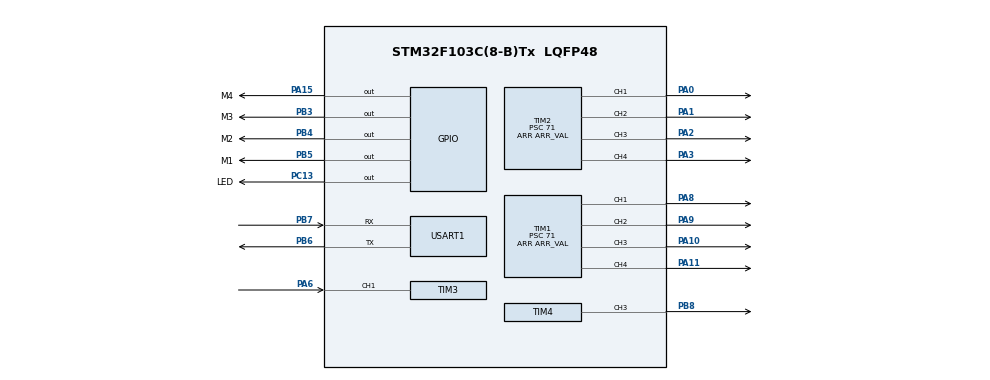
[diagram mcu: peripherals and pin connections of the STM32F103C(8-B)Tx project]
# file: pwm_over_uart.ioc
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Dma.Request0=USART1_RX
Dma.Request1=USART1_TX
Dma.Request2=TIM4_UP
Dma.TIM4_UP.2.Direction=DMA_MEMORY_TO_PERIPH
Dma.TIM4_UP.2.Instance=DMA1_Channel7
Dma.TIM4_UP.2.MemDataAlignment=DMA_MDATAALIGN_HALFWORD
Dma.TIM4_UP.2.MemInc=DMA_MINC_ENABLE
Dma.TIM4_UP.2.Mode=DMA_CIRCULAR
Dma.TIM4_UP.2.PeriphDataAlignment=DMA_PDATAALIGN_HALFWORD
Dma.TIM4_UP.2.PeriphInc=DMA_PINC_DISABLE
Dma.TIM4_UP.2.Priority=DMA_PRIORITY_LOW
Dma.USART1_RX.0.Direction=DMA_PERIPH_TO_MEMORY
Dma.USART1_RX.0.Instance=DMA1_Channel5
Dma.USART1_RX.0.MemDataAlignment=DMA_MDATAALIGN_BYTE
Dma.USART1_RX.0.MemInc=DMA_MINC_ENABLE
Dma.USART1_RX.0.Mode=DMA_CIRCULAR
Dma.USART1_RX.0.PeriphDataAlignment=DMA_PDATAALIGN_BYTE
Dma.USART1_RX.0.PeriphInc=DMA_PINC_DISABLE
Dma.USART1_RX.0.Priority=DMA_PRIORITY_LOW
Dma.USART1_TX.1.Direction=DMA_MEMORY_TO_PERIPH
Dma.USART1_TX.1.Instance=DMA1_Channel4
Dma.USART1_TX.1.MemDataAlignment=DMA_MDATAALIGN_BYTE
Dma.USART1_TX.1.MemInc=DMA_MINC_ENABLE
Dma.USART1_TX.1.Mode=DMA_CIRCULAR
Dma.USART1_TX.1.PeriphDataAlignment=DMA_PDATAALIGN_BYTE
Dma.USART1_TX.1.PeriphInc=DMA_PINC_DISABLE
Dma.USART1_TX.1.Priority=DMA_PRIORITY_LOW
Mcu.Family=STM32F1
Mcu.Name=STM32F103C(8-B)Tx
Mcu.Package=LQFP48
Mcu.UserConstants=ARR_VAL,(20000 - 1)
NVIC.DMA1_Channel4_IRQn=true\:0\:0\:false\:false\:true\:false\:true\:true
NVIC.DMA1_Channel5_IRQn=true\:0\:0\:false\:false\:true\:false\:true\:true
NVIC.DMA1_Channel7_IRQn=true\:0\:0\:false\:false\:true\:false\:true\:true
NVIC.PriorityGroup=NVIC_PRIORITYGROUP_4
NVIC.TIM3_IRQn=true\:0\:0\:false\:false\:true\:true\:true\:true
PA0-WKUP.Signal=S_TIM2_CH1_ETR
PA1.Signal=S_TIM2_CH2
PA10.Signal=S_TIM1_CH3
PA11.Signal=S_TIM1_CH4
PA13.Mode=Serial_Wire
PA13.Signal=SYS_JTMS-SWDIO
PA14.Mode=Serial_Wire
PA14.Signal=SYS_JTCK-SWCLK
PA15.GPIO_Label=M4
PA15.GPIO_Speed=GPIO_SPEED_FREQ_HIGH
PA15.Signal=GPIO_Output
PA2.Signal=S_TIM2_CH3
PA3.Signal=S_TIM2_CH4
PA6.Signal=S_TIM3_CH1
PA8.Signal=S_TIM1_CH1
PA9.Signal=S_TIM1_CH2
PB3.GPIO_Label=M3
PB3.GPIO_Speed=GPIO_SPEED_FREQ_HIGH
PB3.Signal=GPIO_Output
PB4.GPIO_Label=M2
PB4.GPIO_Speed=GPIO_SPEED_FREQ_HIGH
PB4.Signal=GPIO_Output
PB5.GPIO_Label=M1
PB5.GPIO_Speed=GPIO_SPEED_FREQ_HIGH
PB5.Signal=GPIO_Output
PB6.Mode=Asynchronous
PB6.Signal=USART1_TX
PB7.Mode=Asynchronous
PB7.Signal=USART1_RX
PB8.Signal=S_TIM4_CH3
PC13-TAMPER-RTC.GPIO_Label=LED
PC13-TAMPER-RTC.Signal=GPIO_Output
PD0-OSC_IN.Mode=HSE-External-Oscillator
PD0-OSC_IN.Signal=RCC_OSC_IN
PD1-OSC_OUT.Mode=HSE-External-Oscillator
PD1-OSC_OUT.Signal=RCC_OSC_OUT
ProjectManager.HeapSize=0x200
ProjectManager.StackSize=0x400
ProjectManager.TargetToolchain=CMake
RCC.AHBFreq_Value=72000000
RCC.APB1CLKDivider=RCC_HCLK_DIV2
RCC.APB1Freq_Value=36000000
RCC.APB1TimFreq_Value=72000000
RCC.APB2Freq_Value=72000000
RCC.APB2TimFreq_Value=72000000
RCC.HCLKFreq_Value=72000000
RCC.PLLMUL=RCC_PLL_MUL9
RCC.PLLSourceVirtual=RCC_PLLSOURCE_HSE
RCC.SYSCLKFreq_VALUE=72000000
RCC.SYSCLKSource=RCC_SYSCLKSOURCE_PLLCLK
RCC.USBFreq_Value=72000000
SH.S_TIM1_CH1.0=TIM1_CH1,PWM Generation1 CH1
SH.S_TIM1_CH2.0=TIM1_CH2,PWM Generation2 CH2
SH.S_TIM1_CH3.0=TIM1_CH3,PWM Generation3 CH3
SH.S_TIM1_CH4.0=TIM1_CH4,PWM Generation4 CH4
SH.S_TIM2_CH1_ETR.0=TIM2_CH1,PWM Generation1 CH1
SH.S_TIM2_CH2.0=TIM2_CH2,PWM Generation2 CH2
SH.S_TIM2_CH3.0=TIM2_CH3,PWM Generation3 CH3
SH.S_TIM2_CH4.0=TIM2_CH4,PWM Generation4 CH4
SH.S_TIM3_CH1.0=TIM3_CH1,Input_Capture1_from_TI1
SH.S_TIM4_CH3.0=TIM4_CH3,PWM Generation3 CH3
TIM1.AutoReloadPreload=TIM_AUTORELOAD_PRELOAD_ENABLE
TIM1.Channel-PWM\ Generation1\ CH1=TIM_CHANNEL_1
TIM1.Channel-PWM\ Generation2\ CH2=TIM_CHANNEL_2
TIM1.Channel-PWM\ Generation3\ CH3=TIM_CHANNEL_3
TIM1.Channel-PWM\ Generation4\ CH4=TIM_CHANNEL_4
TIM1.Period=ARR_VAL
TIM1.Prescaler=71
TIM2.AutoReloadPreload=TIM_AUTORELOAD_PRELOAD_ENABLE
TIM2.Channel-PWM\ Generation1\ CH1=TIM_CHANNEL_1
TIM2.Channel-PWM\ Generation2\ CH2=TIM_CHANNEL_2
TIM2.Channel-PWM\ Generation3\ CH3=TIM_CHANNEL_3
TIM2.Channel-PWM\ Generation4\ CH4=TIM_CHANNEL_4
TIM2.Period=ARR_VAL
TIM2.Prescaler=71
TIM3.AutoReloadPreload=TIM_AUTORELOAD_PRELOAD_ENABLE
TIM3.Channel-Input_Capture1_from_TI1=TIM_CHANNEL_1
TIM3.Prescaler=71
TIM4.AutoReloadPreload=TIM_AUTORELOAD_PRELOAD_ENABLE
TIM4.Channel-PWM\ Generation3\ CH3=TIM_CHANNEL_3
TIM4.CounterMode=TIM_COUNTERMODE_DOWN
TIM4.OCMode_PWM-PWM\ Generation3\ CH3=TIM_OCMODE_PWM1
TIM4.OCPolarity_3=TIM_OCPOLARITY_HIGH
TIM4.Period=2199
TIM4.Prescaler=71
TIM4.Pulse-PWM\ Generation3\ CH3=200
USART1.VirtualMode=VM_ASYNC
VP_TIM1_VS_ClockSourceINT.Mode=Internal
VP_TIM2_VS_ClockSourceINT.Mode=Internal
VP_TIM3_VS_ClockSourceINT.Mode=Internal
VP_TIM4_VS_ClockSourceINT.Mode=Internal
board=custom

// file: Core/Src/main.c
/* USER CODE BEGIN Header */
/**
  ******************************************************************************
  * @file           : main.c
  * @brief          : Main program body
  ******************************************************************************
  * @attention
  *
  * Copyright (c) 2025 STMicroelectronics.
  * All rights reserved.
  *
  * This software is licensed under terms that can be found in the LICENSE file
  * in the root directory of this software component.
  * If no LICENSE file comes with this software, it is provided AS-IS.
  *
  ******************************************************************************
  */
/* USER CODE END Header */
#include "main.h"

/* USER CODE BEGIN Includes */
#include <stdlib.h>
#include <stdio.h>
#include "config.h"
/* USER CODE END Includes */

/* USER CODE BEGIN PD */
#define SYNC_VAL_1          0xb5
#define SYNC_VAL_2          0x62
/* USER CODE END PD */

/* USER CODE BEGIN PV */
volatile uint8_t    data_ready_flag = 0;
volatile uint8_t    time_elapsed_flag = 0;
volatile uint8_t    pkt_timeout = 0;  /* timeout since last packet, ms */
volatile pwm_data_t pwm_data;

static GPIO_TypeDef * h_bridge_ports[] = {
  M1_GPIO_Port,
  M2_GPIO_Port,
  M3_GPIO_Port,
  M4_GPIO_Port,
  NULL,
  NULL,
  NULL,
  NULL
};

static uint32_t h_bridge_pins[] = {
  M1_Pin,
  M2_Pin,
  M3_Pin,
  M4_Pin,
  0,
  0,
  0,
  0
};

#ifdef _DEBUG_
#ifdef PPM_OVER_UART
static pwm_data_t test_data = {
  .sync1 = SYNC_VAL_1,
  .sync2 = SYNC_VAL_2,
  .ch = {1000, 1250, 1500, 2000, 1000, 1250, 1500, 2000}
};
#else
static uint16_t test_data[] = {1000, 1250, 1500, 2000, 1000, 1250, 1500, 2000, 2200};
#endif
#endif
/* USER CODE END PV */

void SystemClock_Config(void);
static void MX_GPIO_Init(void);
static void MX_DMA_Init(void);
static void MX_TIM1_Init(void);
static void MX_TIM2_Init(void);
static void MX_USART1_UART_Init(void);
static void MX_TIM3_Init(void);
static void MX_TIM4_Init(void);

/* USER CODE BEGIN 0 */
static uint16_t calc_checksum(uint8_t *pwm_data_ptr) {
  uint8_t a = 0, b = 0;
  uint16_t i = 0;

  /* len of data minus len of the checksum */
  for(i = 0; i < (sizeof(pwm_data_t) - sizeof(uint16_t) - 2); i++) {
    a += pwm_data_ptr[2 + i];  /* 2 - offset for sync symbols */
    b += a;
  }

  return (uint16_t)((b << 8) | a);
}

static uint16_t normalize_ppm(uint16_t ppm) {
  return (uint16_t)(ARR_VAL * abs((ppm - CH_NEUTRAL_VAL) * 100 / CH_MAX_MIN_DIF) / 100);
}
/* USER CODE END 0 */

int main(void)
{

  /* USER CODE BEGIN 1 */
  uint8_t i = 0;
  /* USER CODE END 1 */

  /* MCU Configuration--------------------------------------------------------*/

  /* Reset of all peripherals, Initializes the Flash interface and the Systick. */
  LL_APB2_GRP1_EnableClock(LL_APB2_GRP1_PERIPH_AFIO);
  LL_APB1_GRP1_EnableClock(LL_APB1_GRP1_PERIPH_PWR);

  /* System interrupt init*/
  NVIC_SetPriorityGrouping(NVIC_PRIORITYGROUP_4);

  /* SysTick_IRQn interrupt configuration */
  NVIC_SetPriority(SysTick_IRQn, NVIC_EncodePriority(NVIC_GetPriorityGrouping(),15, 0));

  /** NOJTAG: JTAG-DP Disabled and SW-DP Enabled
  */
  LL_GPIO_AF_Remap_SWJ_NOJTAG();

  /* Configure the system clock */
  SystemClock_Config();

  /* Initialize all configured peripherals */
  MX_GPIO_Init();
  MX_DMA_Init();
  MX_TIM1_Init();
  MX_TIM2_Init();
  /* USER CODE BEGIN 2 */
  LL_SYSTICK_EnableIT();

  /* enable PWM outputs */
  LL_TIM_EnableAllOutputs(TIM1);
  LL_TIM_CC_EnableChannel(TIM1, LL_TIM_CHANNEL_CH1 | LL_TIM_CHANNEL_CH2 | LL_TIM_CHANNEL_CH3 | LL_TIM_CHANNEL_CH4);
  LL_TIM_EnableAllOutputs(TIM2);
  LL_TIM_CC_EnableChannel(TIM2, LL_TIM_CHANNEL_CH1 | LL_TIM_CHANNEL_CH2 | LL_TIM_CHANNEL_CH3 | LL_TIM_CHANNEL_CH4);

#ifdef PPM_OVER_UART
  MX_USART1_UART_Init();
#ifdef _DEBUG_
  test_data.checksum = calc_checksum((uint8_t *)(&test_data));
  LL_USART_EnableDMAReq_TX(USART1);
  LL_DMA_EnableChannel(DMA1, LL_DMA_CHANNEL_4);
#endif
#else
  MX_TIM3_Init();
  LL_TIM_CC_EnableChannel(TIM3, LL_TIM_CHANNEL_CH1);
  LL_TIM_EnableCounter(TIM3);
#ifdef _DEBUG_
  MX_TIM4_Init();
  LL_TIM_CC_EnableChannel(TIM4, LL_TIM_CHANNEL_CH3);
  LL_TIM_EnableDMAReq_UPDATE(TIM4);
  LL_DMA_EnableChannel(DMA1, LL_DMA_CHANNEL_7);
  LL_TIM_EnableCounter(TIM4);
#endif
#endif
  /* USER CODE END 2 */

  /* Infinite loop */
  /* USER CODE BEGIN WHILE */
  while (1) {
    if (data_ready_flag) {
      data_ready_flag = 0;

#ifdef PPM_OVER_UART
      if (!(pwm_data.sync1 == SYNC_VAL_1 && pwm_data.sync2 == SYNC_VAL_2 && calc_checksum((uint8_t *)(&pwm_data)) == pwm_data.checksum))
        continue;
#endif

      /* set new PWM values */
      LL_TIM_OC_SetCompareCH1(TIM1, normalize_ppm(pwm_data.ch[0]));
      LL_TIM_OC_SetCompareCH2(TIM1, normalize_ppm(pwm_data.ch[1]));
      LL_TIM_OC_SetCompareCH3(TIM1, normalize_ppm(pwm_data.ch[2]));
      LL_TIM_OC_SetCompareCH4(TIM1, normalize_ppm(pwm_data.ch[3]));

      LL_TIM_OC_SetCompareCH1(TIM2, normalize_ppm(pwm_data.ch[4]));
      LL_TIM_OC_SetCompareCH2(TIM2, normalize_ppm(pwm_data.ch[5]));
      LL_TIM_OC_SetCompareCH3(TIM2, normalize_ppm(pwm_data.ch[6]));
      LL_TIM_OC_SetCompareCH4(TIM2, normalize_ppm(pwm_data.ch[7]));

      for (i = 0; i < CH_NUM; i++) {
        if (!h_bridge_ports[i])
          continue;
        /* set H-bridge direction */
        if (pwm_data.ch[i] >= CH_NEUTRAL_VAL)
          LL_GPIO_SetOutputPin(h_bridge_ports[i], h_bridge_pins[i]);
        else
          LL_GPIO_ResetOutputPin(h_bridge_ports[i], h_bridge_pins[i]);
      }

      LL_SYSTICK_DisableIT();  /* critical section */
      pkt_timeout = PACKET_TIMEOUT_MS;  /* reset packet timeout */
      time_elapsed_flag = 0;
      LL_TIM_EnableCounter(TIM1);
      LL_TIM_EnableCounter(TIM2);
      LL_SYSTICK_EnableIT();
    }

    if (time_elapsed_flag) {
      /* stop all PWM outputs in case of packet timeout */
      LL_TIM_DisableCounter(TIM1);
      LL_TIM_DisableCounter(TIM2);
    }
    /* USER CODE END WHILE */

  }
}

void SystemClock_Config(void)
{
  LL_FLASH_SetLatency(LL_FLASH_LATENCY_2);
  while(LL_FLASH_GetLatency()!= LL_FLASH_LATENCY_2)
  {
  }
  LL_RCC_HSE_Enable();

   /* Wait till HSE is ready */
  while(LL_RCC_HSE_IsReady() != 1)
  {

  }
  LL_RCC_PLL_ConfigDomain_SYS(LL_RCC_PLLSOURCE_HSE_DIV_1, LL_RCC_PLL_MUL_9);
  LL_RCC_PLL_Enable();

   /* Wait till PLL is ready */
  while(LL_RCC_PLL_IsReady() != 1)
  {

  }
  LL_RCC_SetAHBPrescaler(LL_RCC_SYSCLK_DIV_1);
  LL_RCC_SetAPB1Prescaler(LL_RCC_APB1_DIV_2);
  LL_RCC_SetAPB2Prescaler(LL_RCC_APB2_DIV_1);
  LL_RCC_SetSysClkSource(LL_RCC_SYS_CLKSOURCE_PLL);

   /* Wait till System clock is ready */
  while(LL_RCC_GetSysClkSource() != LL_RCC_SYS_CLKSOURCE_STATUS_PLL)
  {

  }
  LL_Init1msTick(72000000);
  LL_SetSystemCoreClock(72000000);
}

static void MX_TIM1_Init(void)
{

  LL_TIM_InitTypeDef TIM_InitStruct = {0};
  LL_TIM_OC_InitTypeDef TIM_OC_InitStruct = {0};
  LL_TIM_BDTR_InitTypeDef TIM_BDTRInitStruct = {0};

  LL_GPIO_InitTypeDef GPIO_InitStruct = {0};

  /* Peripheral clock enable */
  LL_APB2_GRP1_EnableClock(LL_APB2_GRP1_PERIPH_TIM1);

  TIM_InitStruct.Prescaler = 71;
  TIM_InitStruct.CounterMode = LL_TIM_COUNTERMODE_UP;
  TIM_InitStruct.Autoreload = ARR_VAL;
  TIM_InitStruct.ClockDivision = LL_TIM_CLOCKDIVISION_DIV1;
  TIM_InitStruct.RepetitionCounter = 0;
  LL_TIM_Init(TIM1, &TIM_InitStruct);
  LL_TIM_EnableARRPreload(TIM1);
  LL_TIM_SetClockSource(TIM1, LL_TIM_CLOCKSOURCE_INTERNAL);
  LL_TIM_OC_EnablePreload(TIM1, LL_TIM_CHANNEL_CH1);
  TIM_OC_InitStruct.OCMode = LL_TIM_OCMODE_PWM1;
  TIM_OC_InitStruct.OCState = LL_TIM_OCSTATE_DISABLE;
  TIM_OC_InitStruct.OCNState = LL_TIM_OCSTATE_DISABLE;
  TIM_OC_InitStruct.CompareValue = 0;
  TIM_OC_InitStruct.OCPolarity = LL_TIM_OCPOLARITY_HIGH;
  TIM_OC_InitStruct.OCNPolarity = LL_TIM_OCPOLARITY_HIGH;
  TIM_OC_InitStruct.OCIdleState = LL_TIM_OCIDLESTATE_LOW;
  TIM_OC_InitStruct.OCNIdleState = LL_TIM_OCIDLESTATE_LOW;
  LL_TIM_OC_Init(TIM1, LL_TIM_CHANNEL_CH1, &TIM_OC_InitStruct);
  LL_TIM_OC_DisableFast(TIM1, LL_TIM_CHANNEL_CH1);
  LL_TIM_OC_EnablePreload(TIM1, LL_TIM_CHANNEL_CH2);
  LL_TIM_OC_Init(TIM1, LL_TIM_CHANNEL_CH2, &TIM_OC_InitStruct);
  LL_TIM_OC_DisableFast(TIM1, LL_TIM_CHANNEL_CH2);
  LL_TIM_OC_EnablePreload(TIM1, LL_TIM_CHANNEL_CH3);
  LL_TIM_OC_Init(TIM1, LL_TIM_CHANNEL_CH3, &TIM_OC_InitStruct);
  LL_TIM_OC_DisableFast(TIM1, LL_TIM_CHANNEL_CH3);
  LL_TIM_OC_EnablePreload(TIM1, LL_TIM_CHANNEL_CH4);
  LL_TIM_OC_Init(TIM1, LL_TIM_CHANNEL_CH4, &TIM_OC_InitStruct);
  LL_TIM_OC_DisableFast(TIM1, LL_TIM_CHANNEL_CH4);
  LL_TIM_SetTriggerOutput(TIM1, LL_TIM_TRGO_RESET);
  LL_TIM_DisableMasterSlaveMode(TIM1);
  TIM_BDTRInitStruct.OSSRState = LL_TIM_OSSR_DISABLE;
  TIM_BDTRInitStruct.OSSIState = LL_TIM_OSSI_DISABLE;
  TIM_BDTRInitStruct.LockLevel = LL_TIM_LOCKLEVEL_OFF;
  TIM_BDTRInitStruct.DeadTime = 0;
  TIM_BDTRInitStruct.BreakState = LL_TIM_BREAK_DISABLE;
  TIM_BDTRInitStruct.BreakPolarity = LL_TIM_BREAK_POLARITY_HIGH;
  TIM_BDTRInitStruct.AutomaticOutput = LL_TIM_AUTOMATICOUTPUT_DISABLE;
  LL_TIM_BDTR_Init(TIM1, &TIM_BDTRInitStruct);
  LL_APB2_GRP1_EnableClock(LL_APB2_GRP1_PERIPH_GPIOA);
  /**TIM1 GPIO Configuration
  PA8   ------> TIM1_CH1
  PA9   ------> TIM1_CH2
  PA10   ------> TIM1_CH3
  PA11   ------> TIM1_CH4
  */
  GPIO_InitStruct.Pin = LL_GPIO_PIN_8|LL_GPIO_PIN_9|LL_GPIO_PIN_10|LL_GPIO_PIN_11;
  GPIO_InitStruct.Mode = LL_GPIO_MODE_ALTERNATE;
  GPIO_InitStruct.Speed = LL_GPIO_SPEED_FREQ_LOW;
  GPIO_InitStruct.OutputType = LL_GPIO_OUTPUT_PUSHPULL;
  LL_GPIO_Init(GPIOA, &GPIO_InitStruct);

}

static void MX_TIM2_Init(void)
{

  LL_TIM_InitTypeDef TIM_InitStruct = {0};
  LL_TIM_OC_InitTypeDef TIM_OC_InitStruct = {0};

  LL_GPIO_InitTypeDef GPIO_InitStruct = {0};

  /* Peripheral clock enable */
  LL_APB1_GRP1_EnableClock(LL_APB1_GRP1_PERIPH_TIM2);

  TIM_InitStruct.Prescaler = 71;
  TIM_InitStruct.CounterMode = LL_TIM_COUNTERMODE_UP;
  TIM_InitStruct.Autoreload = ARR_VAL;
  TIM_InitStruct.ClockDivision = LL_TIM_CLOCKDIVISION_DIV1;
  LL_TIM_Init(TIM2, &TIM_InitStruct);
  LL_TIM_EnableARRPreload(TIM2);
  LL_TIM_SetClockSource(TIM2, LL_TIM_CLOCKSOURCE_INTERNAL);
  LL_TIM_OC_EnablePreload(TIM2, LL_TIM_CHANNEL_CH1);
  TIM_OC_InitStruct.OCMode = LL_TIM_OCMODE_PWM1;
  TIM_OC_InitStruct.OCState = LL_TIM_OCSTATE_DISABLE;
  TIM_OC_InitStruct.OCNState = LL_TIM_OCSTATE_DISABLE;
  TIM_OC_InitStruct.CompareValue = 0;
  TIM_OC_InitStruct.OCPolarity = LL_TIM_OCPOLARITY_HIGH;
  LL_TIM_OC_Init(TIM2, LL_TIM_CHANNEL_CH1, &TIM_OC_InitStruct);
  LL_TIM_OC_DisableFast(TIM2, LL_TIM_CHANNEL_CH1);
  LL_TIM_OC_EnablePreload(TIM2, LL_TIM_CHANNEL_CH2);
  LL_TIM_OC_Init(TIM2, LL_TIM_CHANNEL_CH2, &TIM_OC_InitStruct);
  LL_TIM_OC_DisableFast(TIM2, LL_TIM_CHANNEL_CH2);
  LL_TIM_OC_EnablePreload(TIM2, LL_TIM_CHANNEL_CH3);
  LL_TIM_OC_Init(TIM2, LL_TIM_CHANNEL_CH3, &TIM_OC_InitStruct);
  LL_TIM_OC_DisableFast(TIM2, LL_TIM_CHANNEL_CH3);
  LL_TIM_OC_EnablePreload(TIM2, LL_TIM_CHANNEL_CH4);
  LL_TIM_OC_Init(TIM2, LL_TIM_CHANNEL_CH4, &TIM_OC_InitStruct);
  LL_TIM_OC_DisableFast(TIM2, LL_TIM_CHANNEL_CH4);
  LL_TIM_SetTriggerOutput(TIM2, LL_TIM_TRGO_RESET);
  LL_TIM_DisableMasterSlaveMode(TIM2);
  LL_APB2_GRP1_EnableClock(LL_APB2_GRP1_PERIPH_GPIOA);
  /**TIM2 GPIO Configuration
  PA0-WKUP   ------> TIM2_CH1
  PA1   ------> TIM2_CH2
  PA2   ------> TIM2_CH3
  PA3   ------> TIM2_CH4
  */
  GPIO_InitStruct.Pin = LL_GPIO_PIN_0|LL_GPIO_PIN_1|LL_GPIO_PIN_2|LL_GPIO_PIN_3;
  GPIO_InitStruct.Mode = LL_GPIO_MODE_ALTERNATE;
  GPIO_InitStruct.Speed = LL_GPIO_SPEED_FREQ_LOW;
  GPIO_InitStruct.OutputType = LL_GPIO_OUTPUT_PUSHPULL;
  LL_GPIO_Init(GPIOA, &GPIO_InitStruct);

}

static void MX_TIM3_Init(void)
{

  LL_TIM_InitTypeDef TIM_InitStruct = {0};

  LL_GPIO_InitTypeDef GPIO_InitStruct = {0};

  /* Peripheral clock enable */
  LL_APB1_GRP1_EnableClock(LL_APB1_GRP1_PERIPH_TIM3);

  LL_APB2_GRP1_EnableClock(LL_APB2_GRP1_PERIPH_GPIOA);
  /**TIM3 GPIO Configuration
  PA6   ------> TIM3_CH1
  */
  GPIO_InitStruct.Pin = LL_GPIO_PIN_6;
  GPIO_InitStruct.Mode = LL_GPIO_MODE_FLOATING;
  LL_GPIO_Init(GPIOA, &GPIO_InitStruct);

  /* TIM3 interrupt Init */
  NVIC_SetPriority(TIM3_IRQn, NVIC_EncodePriority(NVIC_GetPriorityGrouping(),0, 0));
  NVIC_EnableIRQ(TIM3_IRQn);

  TIM_InitStruct.Prescaler = 71;
  TIM_InitStruct.CounterMode = LL_TIM_COUNTERMODE_UP;
  TIM_InitStruct.Autoreload = 65535;
  TIM_InitStruct.ClockDivision = LL_TIM_CLOCKDIVISION_DIV1;
  LL_TIM_Init(TIM3, &TIM_InitStruct);
  LL_TIM_EnableARRPreload(TIM3);
  LL_TIM_SetClockSource(TIM3, LL_TIM_CLOCKSOURCE_INTERNAL);
  LL_TIM_SetTriggerOutput(TIM3, LL_TIM_TRGO_RESET);
  LL_TIM_DisableMasterSlaveMode(TIM3);
  LL_TIM_IC_SetActiveInput(TIM3, LL_TIM_CHANNEL_CH1, LL_TIM_ACTIVEINPUT_DIRECTTI);
  LL_TIM_IC_SetPrescaler(TIM3, LL_TIM_CHANNEL_CH1, LL_TIM_ICPSC_DIV1);
  LL_TIM_IC_SetFilter(TIM3, LL_TIM_CHANNEL_CH1, LL_TIM_IC_FILTER_FDIV1);
  LL_TIM_IC_SetPolarity(TIM3, LL_TIM_CHANNEL_CH1, LL_TIM_IC_POLARITY_RISING);
  /* USER CODE BEGIN TIM3_Init 2 */
  LL_TIM_EnableIT_CC1(TIM3);
  /* USER CODE END TIM3_Init 2 */

}

static void MX_TIM4_Init(void)
{

  LL_TIM_InitTypeDef TIM_InitStruct = {0};
  LL_TIM_OC_InitTypeDef TIM_OC_InitStruct = {0};

  LL_GPIO_InitTypeDef GPIO_InitStruct = {0};

  /* Peripheral clock enable */
  LL_APB1_GRP1_EnableClock(LL_APB1_GRP1_PERIPH_TIM4);

  /* TIM4 DMA Init */

  /* TIM4_UP Init */
  LL_DMA_SetDataTransferDirection(DMA1, LL_DMA_CHANNEL_7, LL_DMA_DIRECTION_MEMORY_TO_PERIPH);

  LL_DMA_SetChannelPriorityLevel(DMA1, LL_DMA_CHANNEL_7, LL_DMA_PRIORITY_LOW);

  LL_DMA_SetMode(DMA1, LL_DMA_CHANNEL_7, LL_DMA_MODE_CIRCULAR);

  LL_DMA_SetPeriphIncMode(DMA1, LL_DMA_CHANNEL_7, LL_DMA_PERIPH_NOINCREMENT);

  LL_DMA_SetMemoryIncMode(DMA1, LL_DMA_CHANNEL_7, LL_DMA_MEMORY_INCREMENT);

  LL_DMA_SetPeriphSize(DMA1, LL_DMA_CHANNEL_7, LL_DMA_PDATAALIGN_HALFWORD);

  LL_DMA_SetMemorySize(DMA1, LL_DMA_CHANNEL_7, LL_DMA_MDATAALIGN_HALFWORD);

  /* USER CODE BEGIN TIM4_Init 1 */
#ifdef _DEBUG_
#ifndef PPM_OVER_UART
  LL_DMA_SetMemoryAddress(DMA1, LL_DMA_CHANNEL_7, (uint32_t)(test_data));
  LL_DMA_SetPeriphAddress(DMA1, LL_DMA_CHANNEL_7, (uint32_t)&TIM4->ARR);
  LL_DMA_SetDataLength(DMA1, LL_DMA_CHANNEL_7, sizeof(test_data) / sizeof(test_data[0]));
  LL_DMA_EnableIT_TC(DMA1, LL_DMA_CHANNEL_7);
#endif
#endif
  /* USER CODE END TIM4_Init 1 */
  TIM_InitStruct.Prescaler = 71;
  TIM_InitStruct.CounterMode = LL_TIM_COUNTERMODE_DOWN;
  TIM_InitStruct.Autoreload = 2199;
  TIM_InitStruct.ClockDivision = LL_TIM_CLOCKDIVISION_DIV1;
  LL_TIM_Init(TIM4, &TIM_InitStruct);
  LL_TIM_EnableARRPreload(TIM4);
  LL_TIM_SetClockSource(TIM4, LL_TIM_CLOCKSOURCE_INTERNAL);
  LL_TIM_OC_EnablePreload(TIM4, LL_TIM_CHANNEL_CH3);
  TIM_OC_InitStruct.OCMode = LL_TIM_OCMODE_PWM1;
  TIM_OC_InitStruct.OCState = LL_TIM_OCSTATE_DISABLE;
  TIM_OC_InitStruct.OCNState = LL_TIM_OCSTATE_DISABLE;
  TIM_OC_InitStruct.CompareValue = 200;
  TIM_OC_InitStruct.OCPolarity = LL_TIM_OCPOLARITY_HIGH;
  LL_TIM_OC_Init(TIM4, LL_TIM_CHANNEL_CH3, &TIM_OC_InitStruct);
  LL_TIM_OC_DisableFast(TIM4, LL_TIM_CHANNEL_CH3);
  LL_TIM_SetTriggerOutput(TIM4, LL_TIM_TRGO_RESET);
  LL_TIM_DisableMasterSlaveMode(TIM4);
  /* USER CODE BEGIN TIM4_Init 2 */
  LL_TIM_CC_SetDMAReqTrigger(TIM4, LL_TIM_CCDMAREQUEST_UPDATE);
  /* USER CODE END TIM4_Init 2 */
  LL_APB2_GRP1_EnableClock(LL_APB2_GRP1_PERIPH_GPIOB);
  /**TIM4 GPIO Configuration
  PB8   ------> TIM4_CH3
  */
  GPIO_InitStruct.Pin = LL_GPIO_PIN_8;
  GPIO_InitStruct.Mode = LL_GPIO_MODE_ALTERNATE;
  GPIO_InitStruct.Speed = LL_GPIO_SPEED_FREQ_LOW;
  GPIO_InitStruct.OutputType = LL_GPIO_OUTPUT_PUSHPULL;
  LL_GPIO_Init(GPIOB, &GPIO_InitStruct);

}

static void MX_USART1_UART_Init(void)
{

  LL_USART_InitTypeDef USART_InitStruct = {0};

  LL_GPIO_InitTypeDef GPIO_InitStruct = {0};

  /* Peripheral clock enable */
  LL_APB2_GRP1_EnableClock(LL_APB2_GRP1_PERIPH_USART1);

  LL_APB2_GRP1_EnableClock(LL_APB2_GRP1_PERIPH_GPIOB);
  /**USART1 GPIO Configuration
  PB6   ------> USART1_TX
  PB7   ------> USART1_RX
  */
  GPIO_InitStruct.Pin = LL_GPIO_PIN_6;
  GPIO_InitStruct.Mode = LL_GPIO_MODE_ALTERNATE;
  GPIO_InitStruct.Speed = LL_GPIO_SPEED_FREQ_HIGH;
  GPIO_InitStruct.OutputType = LL_GPIO_OUTPUT_PUSHPULL;
  LL_GPIO_Init(GPIOB, &GPIO_InitStruct);

  GPIO_InitStruct.Pin = LL_GPIO_PIN_7;
  GPIO_InitStruct.Mode = LL_GPIO_MODE_FLOATING;
  LL_GPIO_Init(GPIOB, &GPIO_InitStruct);

  LL_GPIO_AF_EnableRemap_USART1();

  /* USART1 DMA Init */

  /* USART1_RX Init */
  LL_DMA_SetDataTransferDirection(DMA1, LL_DMA_CHANNEL_5, LL_DMA_DIRECTION_PERIPH_TO_MEMORY);

  LL_DMA_SetChannelPriorityLevel(DMA1, LL_DMA_CHANNEL_5, LL_DMA_PRIORITY_LOW);

  LL_DMA_SetMode(DMA1, LL_DMA_CHANNEL_5, LL_DMA_MODE_CIRCULAR);

  LL_DMA_SetPeriphIncMode(DMA1, LL_DMA_CHANNEL_5, LL_DMA_PERIPH_NOINCREMENT);

  LL_DMA_SetMemoryIncMode(DMA1, LL_DMA_CHANNEL_5, LL_DMA_MEMORY_INCREMENT);

  LL_DMA_SetPeriphSize(DMA1, LL_DMA_CHANNEL_5, LL_DMA_PDATAALIGN_BYTE);

  LL_DMA_SetMemorySize(DMA1, LL_DMA_CHANNEL_5, LL_DMA_MDATAALIGN_BYTE);

  /* USART1_TX Init */
  LL_DMA_SetDataTransferDirection(DMA1, LL_DMA_CHANNEL_4, LL_DMA_DIRECTION_MEMORY_TO_PERIPH);

  LL_DMA_SetChannelPriorityLevel(DMA1, LL_DMA_CHANNEL_4, LL_DMA_PRIORITY_LOW);

  LL_DMA_SetMode(DMA1, LL_DMA_CHANNEL_4, LL_DMA_MODE_CIRCULAR);

  LL_DMA_SetPeriphIncMode(DMA1, LL_DMA_CHANNEL_4, LL_DMA_PERIPH_NOINCREMENT);

  LL_DMA_SetMemoryIncMode(DMA1, LL_DMA_CHANNEL_4, LL_DMA_MEMORY_INCREMENT);

  LL_DMA_SetPeriphSize(DMA1, LL_DMA_CHANNEL_4, LL_DMA_PDATAALIGN_BYTE);

  LL_DMA_SetMemorySize(DMA1, LL_DMA_CHANNEL_4, LL_DMA_MDATAALIGN_BYTE);

  /* USER CODE BEGIN USART1_Init 1 */
  LL_DMA_SetMemoryAddress(DMA1, LL_DMA_CHANNEL_5, (uint32_t)(&pwm_data));
  LL_DMA_SetPeriphAddress(DMA1, LL_DMA_CHANNEL_5, LL_USART_DMA_GetRegAddr(USART1));
  LL_DMA_SetDataLength(DMA1, LL_DMA_CHANNEL_5, sizeof(pwm_data_t));
  LL_DMA_EnableIT_TC(DMA1, LL_DMA_CHANNEL_5);

#ifdef _DEBUG_
#ifdef PPM_OVER_UART
  LL_DMA_SetMemoryAddress(DMA1, LL_DMA_CHANNEL_4, (uint32_t)(&test_data));
  LL_DMA_SetPeriphAddress(DMA1, LL_DMA_CHANNEL_4, LL_USART_DMA_GetRegAddr(USART1));
  LL_DMA_SetDataLength(DMA1, LL_DMA_CHANNEL_4, sizeof(pwm_data_t));
  LL_DMA_EnableIT_TC(DMA1, LL_DMA_CHANNEL_4);
#endif
#endif
  /* USER CODE END USART1_Init 1 */
  USART_InitStruct.BaudRate = 115200;
  USART_InitStruct.DataWidth = LL_USART_DATAWIDTH_8B;
  USART_InitStruct.StopBits = LL_USART_STOPBITS_1;
  USART_InitStruct.Parity = LL_USART_PARITY_NONE;
  USART_InitStruct.TransferDirection = LL_USART_DIRECTION_TX_RX;
  USART_InitStruct.HardwareFlowControl = LL_USART_HWCONTROL_NONE;
  USART_InitStruct.OverSampling = LL_USART_OVERSAMPLING_16;
  LL_USART_Init(USART1, &USART_InitStruct);
  LL_USART_ConfigAsyncMode(USART1);
  LL_USART_Enable(USART1);
  /* USER CODE BEGIN USART1_Init 2 */
  LL_USART_EnableDMAReq_RX(USART1);
  LL_DMA_EnableChannel(DMA1, LL_DMA_CHANNEL_5);
  /* USER CODE END USART1_Init 2 */

}

static void MX_DMA_Init(void)
{

  /* Init with LL driver */
  /* DMA controller clock enable */
  LL_AHB1_GRP1_EnableClock(LL_AHB1_GRP1_PERIPH_DMA1);

  /* DMA interrupt init */
  /* DMA1_Channel4_IRQn interrupt configuration */
  NVIC_SetPriority(DMA1_Channel4_IRQn, NVIC_EncodePriority(NVIC_GetPriorityGrouping(),0, 0));
  NVIC_EnableIRQ(DMA1_Channel4_IRQn);
  /* DMA1_Channel5_IRQn interrupt configuration */
  NVIC_SetPriority(DMA1_Channel5_IRQn, NVIC_EncodePriority(NVIC_GetPriorityGrouping(),0, 0));
  NVIC_EnableIRQ(DMA1_Channel5_IRQn);
  /* DMA1_Channel7_IRQn interrupt configuration */
  NVIC_SetPriority(DMA1_Channel7_IRQn, NVIC_EncodePriority(NVIC_GetPriorityGrouping(),0, 0));
  NVIC_EnableIRQ(DMA1_Channel7_IRQn);

}

static void MX_GPIO_Init(void)
{
  LL_GPIO_InitTypeDef GPIO_InitStruct = {0};

  /* GPIO Ports Clock Enable */
  LL_APB2_GRP1_EnableClock(LL_APB2_GRP1_PERIPH_GPIOC);
  LL_APB2_GRP1_EnableClock(LL_APB2_GRP1_PERIPH_GPIOD);
  LL_APB2_GRP1_EnableClock(LL_APB2_GRP1_PERIPH_GPIOA);
  LL_APB2_GRP1_EnableClock(LL_APB2_GRP1_PERIPH_GPIOB);

  /**/
  LL_GPIO_ResetOutputPin(LED_GPIO_Port, LED_Pin);

  /**/
  LL_GPIO_ResetOutputPin(M4_GPIO_Port, M4_Pin);

  /**/
  LL_GPIO_ResetOutputPin(GPIOB, M3_Pin|M2_Pin|M1_Pin);

  /**/
  GPIO_InitStruct.Pin = LED_Pin;
  GPIO_InitStruct.Mode = LL_GPIO_MODE_OUTPUT;
  GPIO_InitStruct.Speed = LL_GPIO_SPEED_FREQ_LOW;
  GPIO_InitStruct.OutputType = LL_GPIO_OUTPUT_PUSHPULL;
  LL_GPIO_Init(LED_GPIO_Port, &GPIO_InitStruct);

  /**/
  GPIO_InitStruct.Pin = M4_Pin;
  GPIO_InitStruct.Mode = LL_GPIO_MODE_OUTPUT;
  GPIO_InitStruct.Speed = LL_GPIO_SPEED_FREQ_HIGH;
  GPIO_InitStruct.OutputType = LL_GPIO_OUTPUT_PUSHPULL;
  LL_GPIO_Init(M4_GPIO_Port, &GPIO_InitStruct);

  /**/
  GPIO_InitStruct.Pin = M3_Pin|M2_Pin|M1_Pin;
  GPIO_InitStruct.Mode = LL_GPIO_MODE_OUTPUT;
  GPIO_InitStruct.Speed = LL_GPIO_SPEED_FREQ_HIGH;
  GPIO_InitStruct.OutputType = LL_GPIO_OUTPUT_PUSHPULL;
  LL_GPIO_Init(GPIOB, &GPIO_InitStruct);

}

void Error_Handler(void)
{
  __disable_irq();
  while (1)
  {
  }
}
